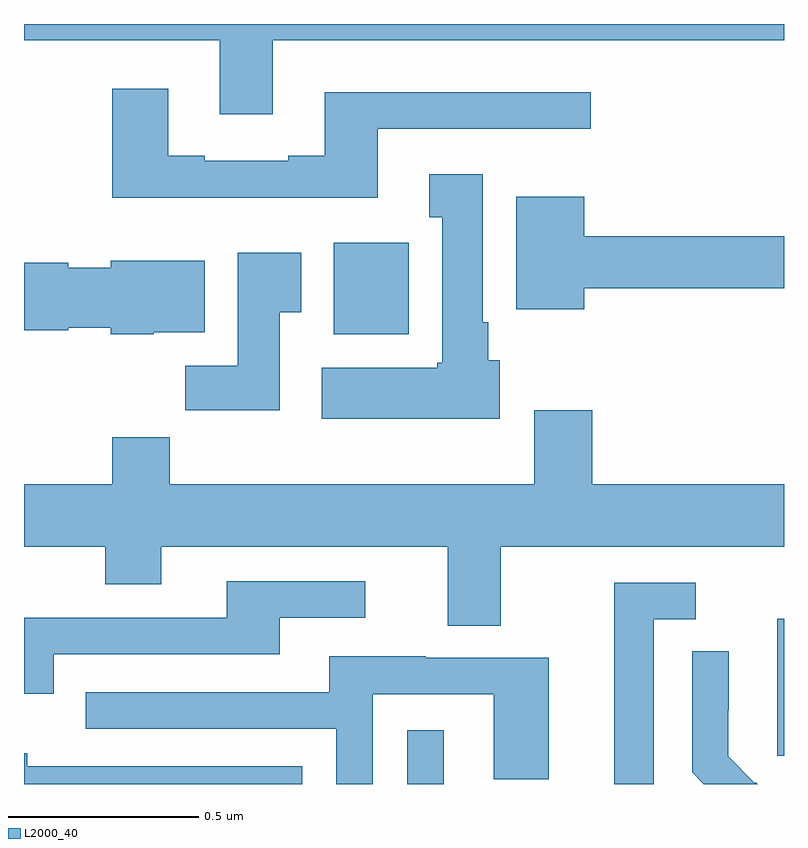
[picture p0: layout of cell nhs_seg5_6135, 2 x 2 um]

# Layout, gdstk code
import gdstk
lib = gdstk.Library(unit=1e-6, precision=1e-09)
def R(c, l, rs):  # rectangles x0, y0, x1, y1
    for r in rs: c.add(gdstk.rectangle(r[:2], r[2:], *l))
def P(c, l, *ps):  # polygons
    for p in ps: c.add(gdstk.Polygon(p, *l))
L2000_40 = (2000, 40)

nhs_seg5_6135 = lib.new_cell('nhs_seg5_6135')
R(nhs_seg5_6135, L2000_40, [(193.008,858.799,193.105,858.94), (193.982,858.873,194,859.234), (192.815,859.982,193.012,860.224)])
P(nhs_seg5_6135, L2000_40, [(192.655,860.756),(194,860.756),(194,860.799),(192,860.799),(192,860.756),(192.515,860.756),(192.515,860.562),(192.655,860.562)],
  [(192.931,860.523),(193.492,860.523),(193.492,860.62),(192.791,860.62),(192.791,860.452),(192.695,860.452),(192.695,860.439),(192.475,860.439),(192.475,860.452),(192.379,860.452),(192.379,860.629),(192.232,860.629),(192.232,860.342),(192.931,860.342)],
  [(193.252,859.914),(193.222,859.914),(193.222,860.014),(193.207,860.014),(193.207,860.404),(193.067,860.404),(193.067,860.291),(193.1,860.291),(193.1,859.908),(193.087,859.908),(193.087,859.894),(192.783,859.894),(192.783,859.76),(193.252,859.76)],
  [(193.474,860.104),(194,860.104),(194,860.24),(193.474,860.24),(193.474,860.344),(193.295,860.344),(193.295,860.048),(193.474,860.048)],
  [(192.673,860.041),(192.73,860.041),(192.73,860.197),(192.563,860.197),(192.563,859.9),(192.424,859.9),(192.424,859.782),(192.673,859.782)],
  [(192.342,859.988),(192.475,859.988),(192.475,860.176),(192.228,860.176),(192.228,860.158),(192.117,860.158),(192.117,860.171),(192,860.171),(192,859.993),(192.117,859.993),(192.117,860),(192.228,860),(192.228,859.982),(192.342,859.982)],
  [(193.255,859.424),(194,859.424),(194,859.588),(193.496,859.588),(193.496,859.783),(193.343,859.783),(193.343,859.588),(192.383,859.588),(192.383,859.712),(192.232,859.712),(192.232,859.588),(192,859.588),(192,859.424),(192.214,859.424),(192.214,859.325),(192.361,859.325),(192.361,859.424),(193.115,859.424),(193.115,859.216),(193.255,859.216)],
  [(192.078,859.14),(192.673,859.14),(192.673,859.236),(192.898,859.236),(192.898,859.332),(192.533,859.332),(192.533,859.236),(192,859.236),(192,859.037),(192.078,859.037)],
  [(193.657,859.233),(193.768,859.233),(193.768,859.329),(193.553,859.329),(193.553,858.799),(193.657,858.799)],
  [(193.926,858.804),(193.923,858.801),(193.853,858.872),(193.853,858.994),(193.854,858.994),(193.854,859.148),(193.758,859.148),(193.758,858.83),(193.789,858.799),(193.931,858.799)],
  [(192.918,859.035),(193.236,859.035),(193.236,858.811),(193.381,858.811),(193.381,859.131),(193.057,859.131),(193.057,859.135),(192.803,859.135),(192.803,859.041),(192.163,859.041),(192.163,858.945),(192.822,858.945),(192.822,858.799),(192.918,858.799)],
  [(192.732,858.846),(192.008,858.846),(192.008,858.88),(192,858.88),(192,858.799),(192.732,858.799)])

lib.write_gds('nhs_seg5_6135.gds')
